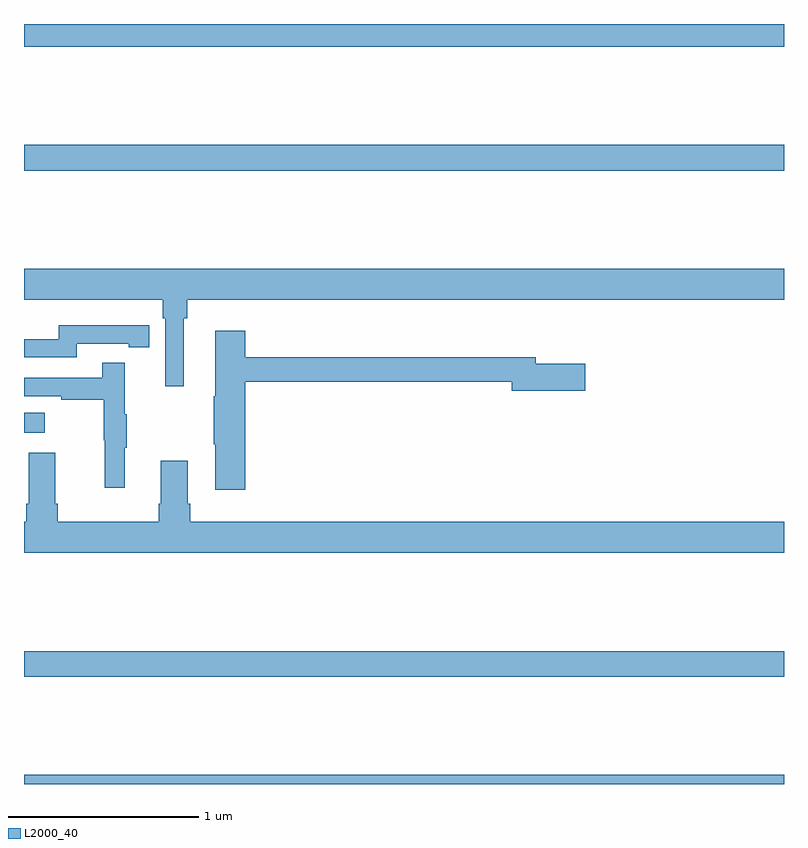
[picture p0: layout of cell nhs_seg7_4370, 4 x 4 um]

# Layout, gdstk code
import gdstk
lib = gdstk.Library(unit=1e-6, precision=1e-09)
def R(c, l, rs):  # rectangles x0, y0, x1, y1
    for r in rs: c.add(gdstk.rectangle(r[:2], r[2:], *l))
def P(c, l, *ps):  # polygons
    for p in ps: c.add(gdstk.Polygon(p, *l))
L2000_40 = (2000, 40)

nhs_seg7_4370 = lib.new_cell('nhs_seg7_4370')
R(nhs_seg7_4370, L2000_40, [(385,1066,389,1066.048), (385,1066.564,389,1066.7), (385,1067.849,385.108,1067.953), (385,1069.228,389,1069.364), (385,1069.88,389,1070)])
P(nhs_seg7_4370, L2000_40, [(385.84,1068.452),(385.859,1068.452),(385.859,1068.548),(389,1068.548),(389,1068.712),(385,1068.712),(385,1068.548),(385.73,1068.548),(385.73,1068.452),(385.743,1068.452),(385.743,1068.093),(385.84,1068.093)],
  [(385.278,1068.318),(385.55,1068.318),(385.55,1068.298),(385.658,1068.298),(385.658,1068.414),(385.55,1068.414),(385.55,1068.415),(385.182,1068.415),(385.182,1068.342),(385,1068.342),(385,1068.246),(385.278,1068.246)],
  [(386.165,1068.118),(387.566,1068.118),(387.566,1068.071),(387.955,1068.071),(387.955,1068.213),(387.694,1068.213),(387.694,1068.247),(386.165,1068.247),(386.165,1068.385),(386.006,1068.385),(386.006,1068.041),(385.999,1068.041),(385.999,1067.788),(386.006,1067.788),(386.006,1067.55),(386.165,1067.55)],
  [(385.529,1067.771),(385.54,1067.771),(385.54,1067.945),(385.529,1067.945),(385.529,1068.217),(385.411,1068.217),(385.411,1068.138),(385,1068.138),(385,1068.042),(385.195,1068.042),(385.195,1068.022),(385.419,1068.022),(385.419,1067.808),(385.426,1067.808),(385.426,1067.559),(385.529,1067.559)],
  [(389,1067.38),(385.874,1067.38),(385.874,1067.476),(385.861,1067.476),(385.861,1067.701),(385.721,1067.701),(385.721,1067.476),(385.709,1067.476),(385.709,1067.38),(385.178,1067.38),(385.178,1067.476),(385.165,1067.476),(385.165,1067.743),(385.025,1067.743),(385.025,1067.476),(385.013,1067.476),(385.013,1067.38),(385,1067.38),(385,1067.216),(389,1067.216)])

lib.write_gds('nhs_seg7_4370.gds')
